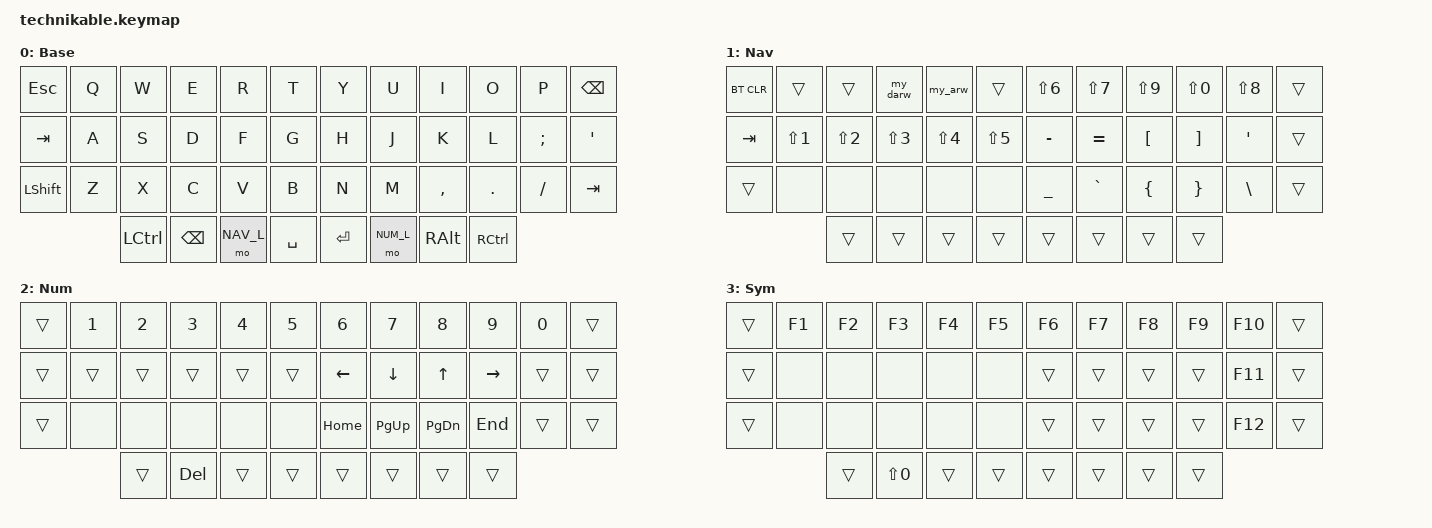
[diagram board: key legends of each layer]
// vim:ft=c
/*
 * Copyright (c) 2022 Pete Johanson
 *
 * SPDX-License-Identifier: MIT
 */

#include <behaviors.dtsi>
#include <dt-bindings/zmk/keys.h>
#include <dt-bindings/zmk/bt.h>
#include <dt-bindings/zmk/outputs.h>

#define BAS_L 0
#define NAV_L 1
#define NUM_L 2
#define SYM_L 3

// Using layer taps on thumbs, having quick tap as well helps w/ repeating space/backspace
&lt { quick_tap_ms = <200>; };
&caps_word {
    continue-list = <UNDERSCORE MINUS>;
};
&sk {
    quick-release;
};

/ {
    macros {
        my_arw: my_arw {
            compatible = "zmk,behavior-macro";
            #binding-cells = <0>;
            bindings = <&macro_tap &kp MINUS &kp GT>;
        };
        my_darw: my_darw {
            compatible = "zmk,behavior-macro";
            #binding-cells = <0>;
            bindings = <&macro_tap &kp EQUAL &kp GT>;
        };
        my_esc: my_esc {
            compatible = "zmk,behavior-macro";
            #binding-cells = <0>;
            bindings = <&macro_tap &kp LANG2 &kp ESC>;
        };
    };

    combos {
        compatible = "zmk,combos";
        combo_esc {
            timeout-ms = <50>;
            key-positions = <2 3>; // Key: W E
            bindings = <&my_esc>;
        };
        combo_caps_word {
            timeout-ms = <50>;
            key-positions = <16 19>; // Key: F J
            bindings = <&caps_word>;
        };
        combo_ime_on {
            timeout-ms = <50>;
            key-positions = <26 27>; // Key: X C
            bindings = <&kp LANG1>;
        };
        combo_ime_off {
            timeout-ms = <50>;
            key-positions = <32 33>; // Key: , .
            bindings = <&kp LANG2>;
        };

        combo_ctrl_right {
            timeout-ms = <50>;
            key-positions = <19 20>; // Key: J K
            bindings = <&sk RCTRL>;
        };
        combo_ctrl_left {
            timeout-ms = <50>;
            key-positions = <15 16>; // Key: D F
            bindings = <&sk LCTRL>;
        };

        combo_shft_right {
            timeout-ms = <50>;
            key-positions = <19 21>; // Key: J L
            bindings = <&sk RSHFT>;
        };
        combo_shft_left {
            timeout-ms = <50>;
            key-positions = <14 16>; // Key: S F
            bindings = <&sk LSHFT>;
        };

        combo_alt_right {
            timeout-ms = <50>;
            key-positions = <20 21>; // Key: K L
            bindings = <&sk RALT>;
        };
        combo_alt_left {
            timeout-ms = <50>;
            key-positions = <14 15>; // Key: S F
            bindings = <&sk LALT>;
        };

        combo_gui_right {
            timeout-ms = <50>;
            key-positions = <19 22>; // Key: J COLON
            bindings = <&kp RGUI>;
        };
        combo_gui_left {
            timeout-ms = <50>;
            key-positions = <13 16>; // Key: A F
            bindings = <&sk LGUI>;
        };

        combo_ctrl_shft_right {
            timeout-ms = <50>;
            key-positions = <19 20 21>; // Key: J K L
            bindings = <&sk RS(RCTRL)>;
        };
        combo_ctrl_shft_left {
            timeout-ms = <50>;
            key-positions = <14 15 16>; // Key: S D F
            bindings = <&sk LS(LCTRL)>;
        };

        combo_ctrl_alt_right {
            timeout-ms = <50>;
            key-positions = <19 20 21 22>; // Key: J K L ;
            bindings = <&sk RC(RGUI)>;
        };
        combo_ctrl_alt_left {
            timeout-ms = <50>;
            key-positions = <13 14 15 16>; // Key: A S D F
            bindings = <&sk LC(LGUI)>;
        };
    };

    chosen {
       zmk,matrix_transform = &ortho_transform;
    };

    conditional_layers {
        compatible = "zmk,conditional-layers";
	tri_layer {
	    if-layers = <NAV_L NUM_L>;
	    then-layer = <SYM_L>;
	};
    };

    keymap {
        compatible = "zmk,keymap";

        base_layer {
            label = "Base";
            bindings = <
//|------------+------------+------------+------------+------------+------------+------------+------------+------------+------------+------------+------------|
    &kp ESC      &kp Q        &kp W        &kp E        &kp R        &kp T        &kp Y        &kp U        &kp I        &kp O        &kp P        &kp BKSP
//|------------+------------+------------+------------+------------+------------+------------+------------+------------+------------+------------+------------|
    &kp TAB      &kp A        &kp S        &kp D        &kp F        &kp G        &kp H        &kp J        &kp K        &kp L        &kp SEMI     &kp QUOT
//|------------+------------+------------+------------+------------+------------+------------+------------+------------+------------+------------+------------|
    &kp LSHFT    &kp Z        &kp X        &kp C        &kp V        &kp B        &kp N        &kp M        &kp COMMA    &kp DOT      &kp FSLH     &kp TAB
//|------------+------------+------------+------------+------------+------------+------------+------------+------------+------------+------------+------------|
                              &kp LCTRL    &kp BKSP     &mo NAV_L    &kp SPACE    &kp RET      &mo NUM_L    &kp RALT     &kp RCTRL
//|------------+------------+------------+------------+------------+------------+------------+------------+------------+------------+------------+------------|
            >;
        };

        nav_layer {
            label = "Nav";
            bindings = <
//|------------+------------+------------+------------+------------+------------+------------+------------+------------+------------+------------+------------|
    &bt BT_CLR   &trans       &trans       &my_darw     &my_arw      &trans       &kp LS(N6)   &kp LS(N7)   &kp LS(N9)   &kp LS(N0)   &kp LS(N8)   &trans
//|------------+------------+------------+------------+------------+------------+------------+------------+------------+------------+------------+------------|
    &kp TAB      &kp LS(N1)   &kp LS(N2)   &kp LS(N3)   &kp LS(N4)   &kp LS(N5)   &kp MINUS    &kp EQUAL    &kp LBKT     &kp RBKT     &kp QUOT     &trans
//|------------+------------+------------+------------+------------+------------+------------+------------+------------+------------+------------+------------|
    &trans       &none        &none        &none        &none        &none        &kp UNDER    &kp GRAVE    &kp LBRC     &kp RBRC     &kp BSLH     &trans
//|------------+------------+------------+------------+------------+------------+------------+------------+------------+------------+------------+------------|
                              &trans       &trans       &trans       &trans       &trans       &trans       &trans       &trans
//|------------+------------+------------+------------+------------+------------+------------+------------+------------+------------+------------+------------|
            >;
        };

        num_layer {
            label = "Num";
            bindings = <
//|------------+------------+------------+------------+------------+------------+------------+------------+------------+------------+------------+------------|
    &trans      &kp N1        &kp N2       &kp N3       &kp N4       &kp N5       &kp N6       &kp N7       &kp N8       &kp N9       &kp N0       &trans
//|------------+------------+------------+------------+------------+------------+------------+------------+------------+------------+------------+------------|
    &trans      &trans        &trans       &trans       &trans       &trans       &kp LEFT     &kp DOWN     &kp UP       &kp RIGHT    &trans       &trans
//|------------+------------+------------+------------+------------+------------+------------+------------+------------+------------+------------+------------|
    &trans      &none         &none        &none        &none        &none        &kp HOME     &kp PG_UP    &kp PG_DN    &kp END      &trans       &trans
//|------------+------------+------------+------------+------------+------------+------------+------------+------------+------------+------------+------------|
                              &trans       &kp DEL      &trans       &trans       &trans       &trans       &trans       &trans
//|------------+------------+------------+------------+------------+------------+------------+------------+------------+------------+------------+------------|
            >;
        };

        sym_layer {
            label = "Sym";
            bindings = <
//|------------+------------+------------+------------+------------+------------+------------+------------+------------+------------+------------+------------|
    &trans       &kp F1       &kp F2       &kp F3       &kp F4       &kp F5       &kp F6       &kp F7       &kp F8       &kp F9       &kp F10      &trans
//|------------+------------+------------+------------+------------+------------+------------+------------+------------+------------+------------+------------|
    &trans       &none        &none        &none        &none        &none        &trans       &trans       &trans       &trans       &kp F11      &trans
//|------------+------------+------------+------------+------------+------------+------------+------------+------------+------------+------------+------------|
    &trans       &none        &none        &none        &none        &none        &trans       &trans       &trans       &trans       &kp F12      &trans
//|------------+------------+------------+------------+------------+------------+------------+------------+------------+------------+------------+------------|
                              &trans       &kp LS(N0)   &trans       &trans       &trans       &trans       &trans       &trans
//|------------+------------+------------+------------+------------+------------+------------+------------+------------+------------+------------+------------|
            >;
        };

    };
};
